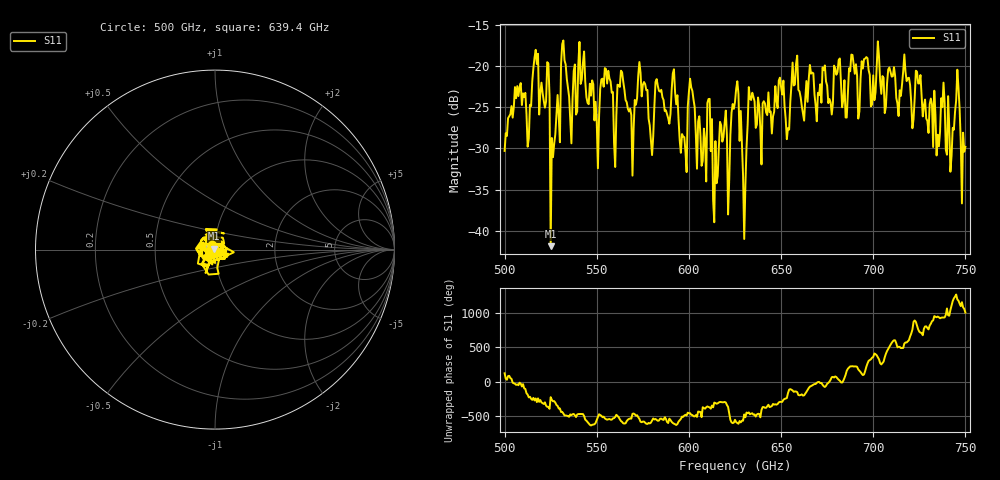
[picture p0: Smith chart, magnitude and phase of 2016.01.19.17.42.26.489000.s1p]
!Created with skrf (http://scikit-rf.org).
# GHz S RI R 50.0
!freq ReS11 ImS11
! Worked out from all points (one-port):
!   401 points, 500 GHz to 750 GHz, reference 50 ohm
!   lowest |S11| = -41.9 dB at 525 GHz (marker M1), VSWR 1.02, Z = 49.5 + j0.589 ohm
!   |S11| at or under -10 dB: start of sweep to end of sweep
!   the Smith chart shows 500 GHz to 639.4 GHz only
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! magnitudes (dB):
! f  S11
! 500 GHz  -30.3
! 506.9 GHz  -22.4
! 513.1 GHz  -28.8
! 516.9 GHz  -18.0
! 525 GHz  -41.9
! 531.2 GHz  -17.3
! 550 GHz  -26.9
! 562.5 GHz  -22.5
! 568.8 GHz  -25.9
! 573.8 GHz  -20.8
! 579.4 GHz  -29.0
! 583.1 GHz  -22.4
! 593.8 GHz  -23.5
! 597.5 GHz  -28.6
! 601.2 GHz  -22.6
! 608.1 GHz  -27.6
! 611.2 GHz  -24.0
! 614.4 GHz  -29.1
! 625 GHz  -24.4
! 630 GHz  -41.0
! 633.8 GHz  -24.1
! 653.1 GHz  -28.9
! 656.2 GHz  -19.6
! 687.5 GHz  -20.6
! 718.8 GHz  -21.5
! 742.5 GHz  -30.9
! 745.6 GHz  -20.4
! 750 GHz  -29.8
